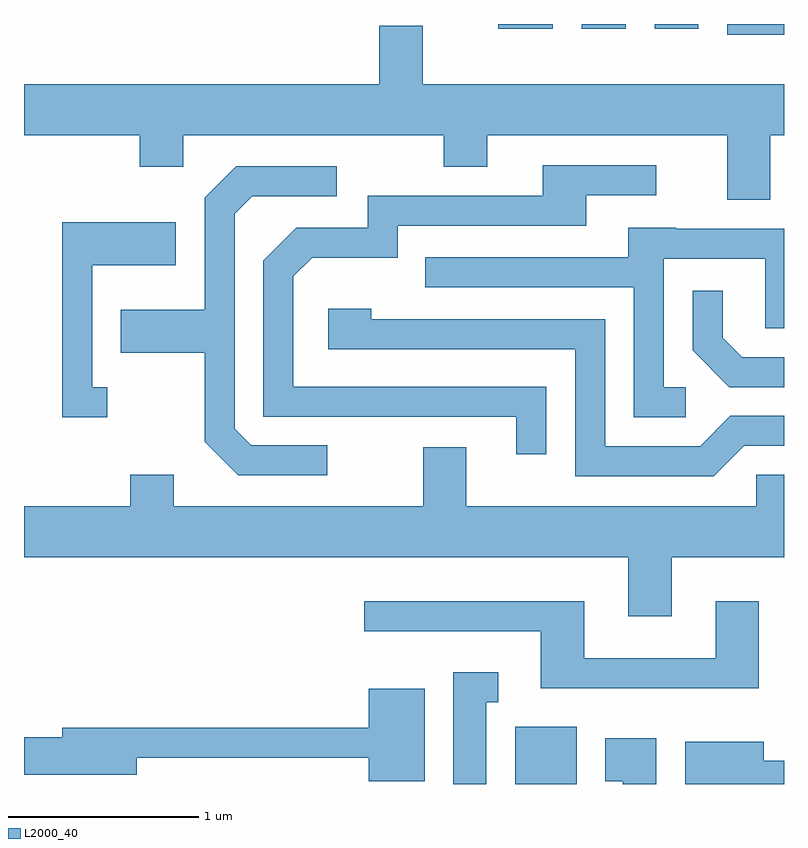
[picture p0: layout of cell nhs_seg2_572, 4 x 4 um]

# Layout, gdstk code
import gdstk
lib = gdstk.Library(unit=1e-6, precision=1e-09)
def R(c, l, rs):  # rectangles x0, y0, x1, y1
    for r in rs: c.add(gdstk.rectangle(r[:2], r[2:], *l))
def P(c, l, *ps):  # polygons
    for p in ps: c.add(gdstk.Polygon(p, *l))
L2000_40 = (2000, 40)

nhs_seg2_572 = lib.new_cell('nhs_seg2_572')
R(nhs_seg2_572, L2000_40, [(204.196,1033.802,204.519,1034.104), (205.313,1037.746,205.611,1037.802), (204.106,1037.776,204.394,1037.802), (204.546,1037.776,204.779,1037.802), (204.931,1037.776,205.159,1037.802)])
P(nhs_seg2_572, L2000_40, [(205.539,1037.216),(205.611,1037.216),(205.611,1037.484),(203.709,1037.484),(203.709,1037.794),(203.481,1037.794),(203.481,1037.484),(201.611,1037.484),(201.611,1037.216),(202.221,1037.216),(202.221,1037.051),(202.449,1037.051),(202.449,1037.216),(203.821,1037.216),(203.821,1037.051),(204.049,1037.051),(204.049,1037.216),(205.311,1037.216),(205.311,1036.876),(205.539,1036.876)],
  [(204.359,1035.894),(203.029,1035.894),(203.029,1036.474),(203.127,1036.571),(203.579,1036.571),(203.579,1036.741),(204.569,1036.741),(204.569,1036.901),(204.938,1036.901),(204.938,1037.059),(204.341,1037.059),(204.341,1036.899),(203.421,1036.899),(203.421,1036.729),(203.044,1036.729),(202.871,1036.556),(202.871,1035.736),(204.201,1035.736),(204.201,1035.537),(204.359,1035.537)],
  [(203.208,1035.584),(202.807,1035.584),(202.719,1035.671),(202.719,1036.804),(202.812,1036.896),(203.258,1036.896),(203.258,1037.054),(202.729,1037.054),(202.561,1036.887),(202.561,1036.299),(202.121,1036.299),(202.121,1036.071),(202.561,1036.071),(202.561,1035.603),(202.739,1035.426),(203.208,1035.426)],
  [(202.048,1035.889),(201.969,1035.889),(201.969,1036.531),(202.409,1036.531),(202.409,1036.759),(201.811,1036.759),(201.811,1035.731),(202.048,1035.731)],
  [(205.093,1035.889),(204.979,1035.889),(204.979,1036.566),(205.511,1036.566),(205.511,1036.201),(205.611,1036.201),(205.611,1036.724),(205.045,1036.724),(205.045,1036.729),(204.791,1036.729),(204.791,1036.574),(203.723,1036.574),(203.723,1036.416),(204.821,1036.416),(204.821,1035.731),(205.093,1035.731)],
  [(205.611,1036.049),(205.392,1036.049),(205.289,1036.152),(205.289,1036.398),(205.131,1036.398),(205.131,1036.084),(205.324,1035.891),(205.611,1035.891)],
  [(205.402,1035.581),(205.611,1035.581),(205.611,1035.739),(205.329,1035.739),(205.169,1035.579),(204.669,1035.579),(204.669,1036.249),(203.439,1036.249),(203.439,1036.304),(203.211,1036.304),(203.211,1036.091),(204.511,1036.091),(204.511,1035.421),(205.242,1035.421)],
  [(205.019,1034.996),(205.611,1034.996),(205.611,1035.429),(205.466,1035.429),(205.466,1035.264),(203.939,1035.264),(203.939,1035.574),(203.711,1035.574),(203.711,1035.264),(202.399,1035.264),(202.399,1035.429),(202.171,1035.429),(202.171,1035.264),(201.611,1035.264),(201.611,1034.996),(204.791,1034.996),(204.791,1034.686),(205.019,1034.686)],
  [(205.479,1034.764),(205.251,1034.764),(205.251,1034.464),(204.559,1034.464),(204.559,1034.764),(203.403,1034.764),(203.403,1034.606),(204.331,1034.606),(204.331,1034.306),(205.479,1034.306)],
  [(204.044,1034.231),(204.108,1034.231),(204.108,1034.389),(203.871,1034.389),(203.871,1033.802),(204.044,1033.802)],
  [(203.719,1034.304),(203.426,1034.304),(203.426,1034.099),(201.811,1034.099),(201.811,1034.049),(201.611,1034.049),(201.611,1033.851),(202.204,1033.851),(202.204,1033.941),(203.426,1033.941),(203.426,1033.816),(203.719,1033.816)],
  [(204.939,1034.044),(204.671,1034.044),(204.671,1033.816),(204.761,1033.816),(204.761,1033.802),(204.939,1033.802)],
  [(205.611,1033.924),(205.504,1033.924),(205.504,1034.024),(205.091,1034.024),(205.091,1033.802),(205.611,1033.802)])

lib.write_gds('nhs_seg2_572.gds')
